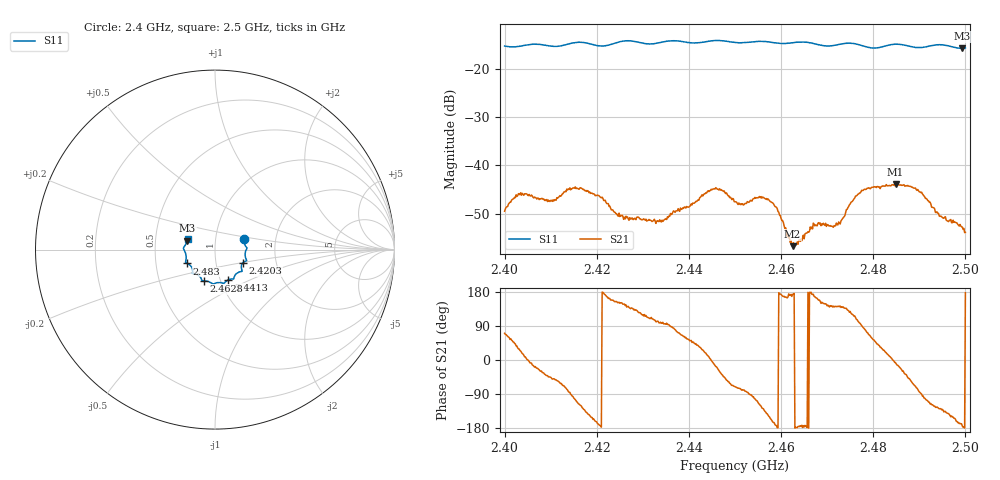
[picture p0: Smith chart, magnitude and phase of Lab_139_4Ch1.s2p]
# Hz S RI R 50
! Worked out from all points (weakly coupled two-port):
!   601 points, 2.4 GHz to 2.5 GHz, reference 50 ohm
!   highest |S21| = -43.99 dB at 2.4848 GHz (marker M1); lowest = -56.7 dB at 2.4625 GHz (marker M2)
!   lowest |S11| = -15.8 dB at 2.4993 GHz (marker M3), VSWR 1.39, Z = 36.5 + j3.71 ohm
!   |S11| at or under -10 dB: start of sweep to end of sweep
!   S12 and S22 are empty: the file has one direction only
!   S11 on the Smith chart (normalised r, x): 2.4 GHz: 1.37, +0.16; 2.4203 GHz: 1.35, -0.21; 2.4413 GHz: 1.09, -0.38; 2.4628 GHz: 0.83, -0.30; 2.483 GHz: 0.72, -0.11; 2.5 GHz: 0.73, +0.09
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2.4e9  0.1609 0.0573  0.00111 0.00315  0 0  0 0
2.403e9  0.1672 0.0255  0.00443 0.00248  0 0  0 0
2.410167e9  0.1699 -0.0119  0.00292 -0.0032  0 0  0 0
2.416667e9  0.1763 -0.0615  -0.00305 -0.00492  0 0  0 0
2.420333e9  0.1552 -0.0742  -0.00478 -0.000935  0 0  0 0
2.425667e9  0.1513 -0.1179  -0.00249 0.00161  0 0  0 0
2.433333e9  0.1082 -0.1485  -0.000541 0.00257  0 0  0 0
2.441333e9  0.0744 -0.1682  0.00304 0.00279  0 0  0 0
2.445667e9  0.0507 -0.188  0.0055 -0.00139  0 0  0 0
2.45e9  0.0295 -0.1838  0.00141 -0.00394  0 0  0 0
2.457667e9  -0.0205 -0.1863  -0.00379 -0.00181  0 0  0 0
2.4625e9  -0.0607 -0.1746  -0.00144 0.000174  0 0  0 0
2.462833e9  -0.0631 -0.1747  -0.00151 0.000112  0 0  0 0
2.466667e9  -0.0742 -0.1675  -0.00228 0.000265  0 0  0 0
2.471833e9  -0.1096 -0.1358  -0.00185 0.00148  0 0  0 0
2.4775e9  -0.124 -0.1205  -5.98e-05 0.00551  0 0  0 0
2.483e9  -0.155 -0.0769  0.00589 0.0017  0 0  0 0
2.483333e9  -0.1571 -0.0759  0.00599 0.00132  0 0  0 0
2.484833e9  -0.1633 -0.0723  0.00627 -0.000766  0 0  0 0
2.489333e9  -0.1608 -0.037  0.00164 -0.00535  0 0  0 0
2.499333e9  -0.1541 0.0495  -0.00228 -0.000227  0 0  0 0
2.5e9  -0.1525 0.0586  -0.00201 8.63e-05  0 0  0 0
